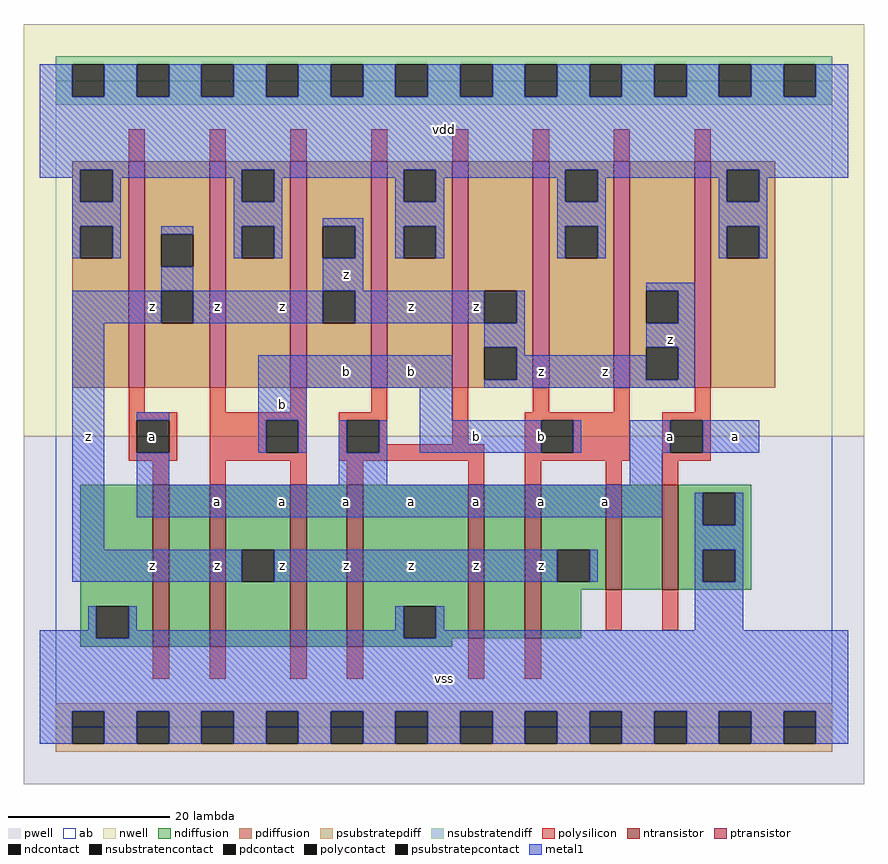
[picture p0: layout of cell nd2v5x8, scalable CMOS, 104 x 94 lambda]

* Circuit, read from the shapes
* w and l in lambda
.subckt nd2v5x8 a b vdd vss z
M1 n1 a vss vss nfet w=20 l=2
M2 z b n1 vss nfet w=20 l=2
M3 n2 b z vss nfet w=20 l=2
M4 vss a n2 vss nfet w=20 l=2
M5 n3 a vss vss nfet w=19 l=2
M6 z b n3 vss nfet w=19 l=2
M7 n4 b z vss nfet w=13 l=2
M8 vss a n4 vss nfet w=13 l=2
M9 z a vdd vdd pfet w=28 l=2 m=4
M10 vdd b z vdd pfet w=28 l=2 m=4
.ends

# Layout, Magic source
magic
tech scmos
<< ab >>
rect 0 0 96 80
<< pwell >>
rect -4 -7 100 36
<< nwell >>
rect -4 36 100 87
<< polysilicon >>
rect 9 70 11 74
rect 19 70 21 74
rect 29 70 31 74
rect 39 70 41 74
rect 49 70 51 74
rect 59 70 61 74
rect 69 70 71 74
rect 79 70 81 74
rect 9 39 11 42
rect 19 39 21 42
rect 29 39 31 42
rect 39 39 41 42
rect 9 38 15 39
rect 9 34 10 38
rect 14 34 15 38
rect 9 33 15 34
rect 19 38 31 39
rect 19 34 26 38
rect 30 34 31 38
rect 19 33 31 34
rect 35 38 41 39
rect 35 34 36 38
rect 40 35 41 38
rect 49 35 51 42
rect 59 39 61 42
rect 69 39 71 42
rect 79 39 81 42
rect 58 38 71 39
rect 40 34 53 35
rect 35 33 53 34
rect 12 30 14 33
rect 19 30 21 33
rect 29 30 31 33
rect 36 30 38 33
rect 51 30 53 33
rect 58 34 60 38
rect 64 34 71 38
rect 58 33 71 34
rect 75 38 81 39
rect 75 34 76 38
rect 80 34 81 38
rect 75 33 81 34
rect 58 30 60 33
rect 68 30 70 33
rect 75 30 77 33
rect 68 12 70 17
rect 75 12 77 17
rect 12 6 14 10
rect 19 6 21 10
rect 29 6 31 10
rect 36 6 38 10
rect 51 6 53 11
rect 58 6 60 11
<< ndiffusion >>
rect 3 15 12 30
rect 3 11 5 15
rect 9 11 12 15
rect 3 10 12 11
rect 14 10 19 30
rect 21 22 29 30
rect 21 18 23 22
rect 27 18 29 22
rect 21 10 29 18
rect 31 10 36 30
rect 38 15 51 30
rect 38 11 43 15
rect 47 11 51 15
rect 53 11 58 30
rect 60 22 68 30
rect 60 18 62 22
rect 66 18 68 22
rect 60 17 68 18
rect 70 17 75 30
rect 77 29 86 30
rect 77 25 80 29
rect 84 25 86 29
rect 77 22 86 25
rect 77 18 80 22
rect 84 18 86 22
rect 77 17 86 18
rect 60 11 65 17
rect 38 10 49 11
<< pdiffusion >>
rect 2 69 9 70
rect 2 65 3 69
rect 7 65 9 69
rect 2 62 9 65
rect 2 58 3 62
rect 7 58 9 62
rect 2 42 9 58
rect 11 61 19 70
rect 11 57 13 61
rect 17 57 19 61
rect 11 54 19 57
rect 11 50 13 54
rect 17 50 19 54
rect 11 42 19 50
rect 21 69 29 70
rect 21 65 23 69
rect 27 65 29 69
rect 21 62 29 65
rect 21 58 23 62
rect 27 58 29 62
rect 21 42 29 58
rect 31 62 39 70
rect 31 58 33 62
rect 37 58 39 62
rect 31 54 39 58
rect 31 50 33 54
rect 37 50 39 54
rect 31 42 39 50
rect 41 69 49 70
rect 41 65 43 69
rect 47 65 49 69
rect 41 62 49 65
rect 41 58 43 62
rect 47 58 49 62
rect 41 42 49 58
rect 51 54 59 70
rect 51 50 53 54
rect 57 50 59 54
rect 51 47 59 50
rect 51 43 53 47
rect 57 43 59 47
rect 51 42 59 43
rect 61 69 69 70
rect 61 65 63 69
rect 67 65 69 69
rect 61 62 69 65
rect 61 58 63 62
rect 67 58 69 62
rect 61 42 69 58
rect 71 54 79 70
rect 71 50 73 54
rect 77 50 79 54
rect 71 47 79 50
rect 71 43 73 47
rect 77 43 79 47
rect 71 42 79 43
rect 81 69 89 70
rect 81 65 83 69
rect 87 65 89 69
rect 81 62 89 65
rect 81 58 83 62
rect 87 58 89 62
rect 81 42 89 58
<< metal1 >>
rect -2 78 2 82
rect 6 78 10 82
rect 14 78 18 82
rect 22 78 26 82
rect 30 78 34 82
rect 38 78 42 82
rect 46 78 50 82
rect 54 78 58 82
rect 62 78 66 82
rect 70 78 74 82
rect 78 78 82 82
rect 86 78 90 82
rect 94 78 98 82
rect -2 69 98 78
rect -2 68 3 69
rect 2 65 3 68
rect 7 68 23 69
rect 7 65 8 68
rect 2 62 8 65
rect 22 65 23 68
rect 27 68 43 69
rect 27 65 28 68
rect 22 62 28 65
rect 42 65 43 68
rect 47 68 63 69
rect 47 65 48 68
rect 2 58 3 62
rect 7 58 8 62
rect 13 61 17 62
rect 22 58 23 62
rect 27 58 28 62
rect 33 62 38 63
rect 37 58 38 62
rect 42 62 48 65
rect 42 58 43 62
rect 47 58 48 62
rect 62 65 63 68
rect 67 68 83 69
rect 67 65 68 68
rect 62 62 68 65
rect 62 58 63 62
rect 67 58 68 62
rect 82 65 83 68
rect 87 68 98 69
rect 87 65 88 68
rect 82 62 88 65
rect 82 58 83 62
rect 87 58 88 62
rect 13 54 17 57
rect 33 54 38 58
rect 73 54 79 55
rect 2 50 13 54
rect 17 50 33 54
rect 37 50 53 54
rect 57 50 58 54
rect 2 22 6 50
rect 53 47 58 50
rect 25 42 49 46
rect 57 46 58 47
rect 77 50 79 54
rect 73 47 79 50
rect 57 43 73 46
rect 77 43 79 47
rect 53 42 79 43
rect 10 38 14 39
rect 25 38 31 42
rect 45 38 49 42
rect 25 34 26 38
rect 30 34 31 38
rect 35 34 36 38
rect 40 34 41 38
rect 45 34 60 38
rect 64 34 65 38
rect 71 34 76 38
rect 80 34 87 38
rect 10 30 14 34
rect 35 30 41 34
rect 71 30 75 34
rect 10 26 75 30
rect 79 25 80 29
rect 84 25 85 29
rect 79 22 85 25
rect 2 18 23 22
rect 27 18 62 22
rect 66 18 67 22
rect 79 18 80 22
rect 84 18 85 22
rect 4 12 5 15
rect -2 11 5 12
rect 9 12 10 15
rect 42 12 43 15
rect 9 11 43 12
rect 47 12 48 15
rect 79 12 85 18
rect 47 11 98 12
rect -2 2 98 11
rect -2 -2 2 2
rect 6 -2 10 2
rect 14 -2 18 2
rect 22 -2 26 2
rect 30 -2 34 2
rect 38 -2 42 2
rect 46 -2 50 2
rect 54 -2 58 2
rect 62 -2 66 2
rect 70 -2 74 2
rect 78 -2 82 2
rect 86 -2 90 2
rect 94 -2 98 2
<< ntransistor >>
rect 12 10 14 30
rect 19 10 21 30
rect 29 10 31 30
rect 36 10 38 30
rect 51 11 53 30
rect 58 11 60 30
rect 68 17 70 30
rect 75 17 77 30
<< ptransistor >>
rect 9 42 11 70
rect 19 42 21 70
rect 29 42 31 70
rect 39 42 41 70
rect 49 42 51 70
rect 59 42 61 70
rect 69 42 71 70
rect 79 42 81 70
<< polycontact >>
rect 10 34 14 38
rect 26 34 30 38
rect 36 34 40 38
rect 60 34 64 38
rect 76 34 80 38
<< ndcontact >>
rect 5 11 9 15
rect 23 18 27 22
rect 43 11 47 15
rect 62 18 66 22
rect 80 25 84 29
rect 80 18 84 22
<< pdcontact >>
rect 3 65 7 69
rect 3 58 7 62
rect 13 57 17 61
rect 13 50 17 54
rect 23 65 27 69
rect 23 58 27 62
rect 33 58 37 62
rect 33 50 37 54
rect 43 65 47 69
rect 43 58 47 62
rect 53 50 57 54
rect 53 43 57 47
rect 63 65 67 69
rect 63 58 67 62
rect 73 50 77 54
rect 73 43 77 47
rect 83 65 87 69
rect 83 58 87 62
<< psubstratepcontact >>
rect 2 -2 6 2
rect 10 -2 14 2
rect 18 -2 22 2
rect 26 -2 30 2
rect 34 -2 38 2
rect 42 -2 46 2
rect 50 -2 54 2
rect 58 -2 62 2
rect 66 -2 70 2
rect 74 -2 78 2
rect 82 -2 86 2
rect 90 -2 94 2
<< nsubstratencontact >>
rect 2 78 6 82
rect 10 78 14 82
rect 18 78 22 82
rect 26 78 30 82
rect 34 78 38 82
rect 42 78 46 82
rect 50 78 54 82
rect 58 78 62 82
rect 66 78 70 82
rect 74 78 78 82
rect 82 78 86 82
rect 90 78 94 82
<< psubstratepdiff >>
rect 0 2 96 3
rect 0 -2 2 2
rect 6 -2 10 2
rect 14 -2 18 2
rect 22 -2 26 2
rect 30 -2 34 2
rect 38 -2 42 2
rect 46 -2 50 2
rect 54 -2 58 2
rect 62 -2 66 2
rect 70 -2 74 2
rect 78 -2 82 2
rect 86 -2 90 2
rect 94 -2 96 2
rect 0 -3 96 -2
<< nsubstratendiff >>
rect 0 82 96 83
rect 0 78 2 82
rect 6 78 10 82
rect 14 78 18 82
rect 22 78 26 82
rect 30 78 34 82
rect 38 78 42 82
rect 46 78 50 82
rect 54 78 58 82
rect 62 78 66 82
rect 70 78 74 82
rect 78 78 82 82
rect 86 78 90 82
rect 94 78 96 82
rect 0 77 96 78
<< labels >>
rlabel metal1 12 20 12 20 6 z
rlabel polycontact 12 36 12 36 6 a
rlabel metal1 4 36 4 36 6 z
rlabel metal1 12 52 12 52 6 z
rlabel metal1 20 28 20 28 6 a
rlabel metal1 20 20 20 20 6 z
rlabel metal1 28 28 28 28 6 a
rlabel metal1 28 20 28 20 6 z
rlabel metal1 28 40 28 40 6 b
rlabel metal1 28 52 28 52 6 z
rlabel metal1 20 52 20 52 6 z
rlabel metal1 48 6 48 6 6 vss
rlabel metal1 36 28 36 28 6 a
rlabel metal1 36 20 36 20 6 z
rlabel metal1 52 28 52 28 6 a
rlabel metal1 52 20 52 20 6 z
rlabel metal1 44 28 44 28 6 a
rlabel metal1 44 20 44 20 6 z
rlabel metal1 36 44 36 44 6 b
rlabel metal1 52 36 52 36 6 b
rlabel metal1 44 44 44 44 6 b
rlabel metal1 52 52 52 52 6 z
rlabel metal1 44 52 44 52 6 z
rlabel metal1 36 56 36 56 6 z
rlabel metal1 48 74 48 74 6 vdd
rlabel metal1 60 28 60 28 6 a
rlabel metal1 60 20 60 20 6 z
rlabel metal1 68 28 68 28 6 a
rlabel metal1 60 44 60 44 6 z
rlabel metal1 60 36 60 36 6 b
rlabel metal1 76 36 76 36 6 a
rlabel metal1 68 44 68 44 6 z
rlabel metal1 76 48 76 48 6 z
rlabel metal1 84 36 84 36 6 a
<< end >>
